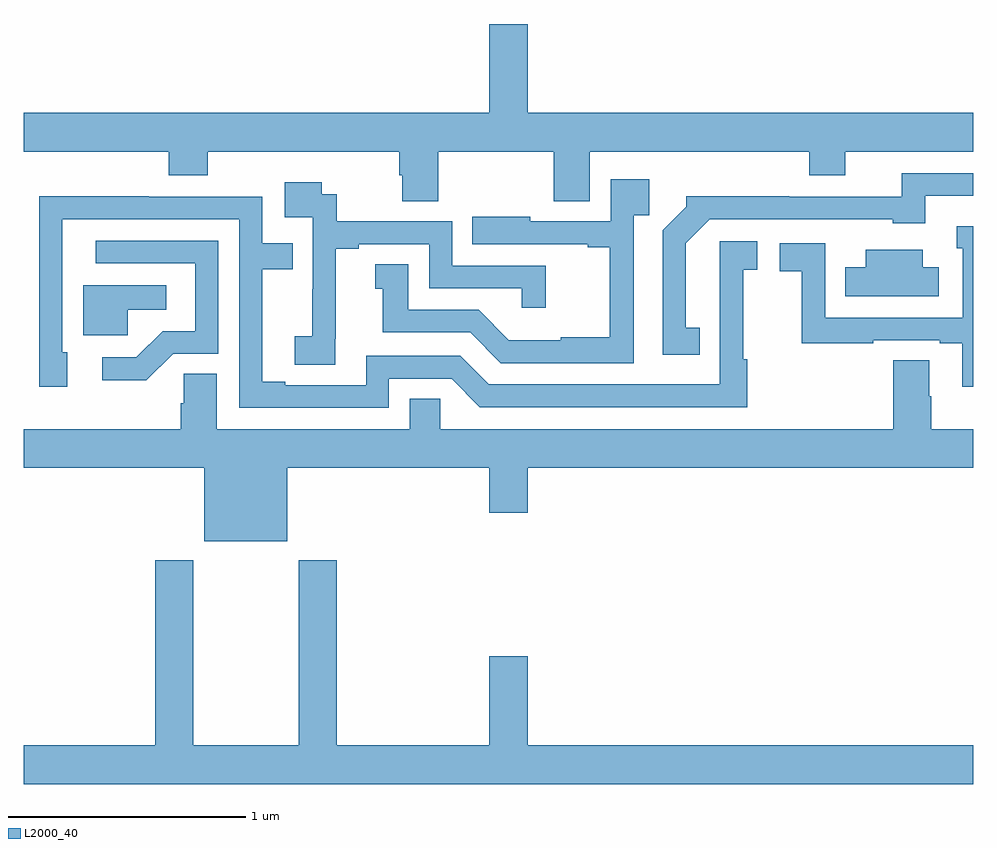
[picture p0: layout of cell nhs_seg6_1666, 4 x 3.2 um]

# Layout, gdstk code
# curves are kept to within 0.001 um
import gdstk
lib = gdstk.Library(unit=1e-6, precision=1e-09)
def P(c, l, *ps):  # polygons
    for p in ps: c.add(gdstk.Polygon(p, *l))
L2000_40 = (2000, 40)

nhs_seg6_1666 = lib.new_cell('nhs_seg6_1666')
P(nhs_seg6_1666, L2000_40, [(212.747,956.66),(213.233,956.66),(213.233,956.452),(213.385,956.452),(213.385,956.66),(214.31,956.66),(214.31,956.561),(214.462,956.561),(214.462,956.66),(215,956.66),(215,956.824),(213.124,956.824),(213.124,957.199),(212.96,957.199),(212.96,956.824),(211,956.824),(211,956.66),(211.61,956.66),(211.61,956.561),(211.775,956.561),(211.775,956.66),(212.582,956.66),(212.582,956.562),(212.594,956.562),(212.594,956.452),(212.747,956.452)],
  [(213.848,955.919),(213.79,955.919),(213.79,956.275),(213.891,956.376),(214.662,956.376),(214.662,956.36),(214.798,956.36),(214.798,956.475),(215,956.475),(215,956.571),(214.699,956.571),(214.699,956.472),(214.226,956.472),(214.226,956.474),(213.792,956.474),(213.792,956.429),(213.693,956.33),(213.693,955.806),(213.848,955.806)],
  [(213.57,956.393),(213.635,956.393),(213.635,956.545),(213.474,956.545),(213.474,956.367),(213.133,956.367),(213.133,956.386),(212.89,956.386),(212.89,956.271),(213.377,956.271),(213.377,956.259),(213.469,956.259),(213.469,955.879),(213.263,955.879),(213.263,955.867),(213.044,955.867),(212.916,955.995),(212.62,955.995),(212.62,956.186),(212.48,956.186),(212.48,956.083),(212.513,956.083),(212.513,955.899),(212.88,955.899),(213.009,955.77),(213.57,955.77)],
  [(212.312,955.873),(212.314,955.873),(212.314,956.251),(212.41,956.251),(212.41,956.271),(212.709,956.271),(212.709,956.085),(213.099,956.085),(213.099,956.004),(213.2,956.004),(213.2,956.181),(212.805,956.181),(212.805,956.367),(212.318,956.367),(212.318,956.481),(212.256,956.481),(212.256,956.533),(212.1,956.533),(212.1,956.385),(212.217,956.385),(212.217,956.081),(212.216,956.081),(212.216,955.884),(212.142,955.884),(212.142,955.762),(212.312,955.762)],
  [(212.538,955.704),(212.802,955.704),(212.922,955.584),(214.049,955.584),(214.049,955.787),(214.032,955.787),(214.032,956.163),(214.09,956.163),(214.09,956.284),(213.932,956.284),(213.933,955.68),(212.958,955.68),(212.838,955.8),(212.442,955.8),(212.442,955.677),(212.101,955.677),(212.101,955.692),(212.005,955.692),(212.005,956.166),(212.132,956.166),(212.132,956.274),(212.004,956.274),(212.004,956.472),(211.526,956.472),(211.526,956.474),(211.064,956.474),(211.065,955.671),(211.183,955.671),(211.183,955.815),(211.161,955.815),(211.161,956.376),(211.908,956.376),(211.908,955.581),(212.538,955.581)],
  [(215,956.347),(214.931,956.347),(214.931,956.253),(214.956,956.253),(214.956,955.962),(214.377,955.962),(214.377,956.274),(214.185,956.274),(214.185,956.158),(214.279,956.158),(214.279,955.854),(214.58,955.854),(214.58,955.866),(214.859,955.866),(214.859,955.854),(214.955,955.854),(214.955,955.671),(215,955.671)],
  [(211.629,955.809),(211.818,955.809),(211.818,956.286),(211.302,956.286),(211.302,956.19),(211.722,956.19),(211.722,955.905),(211.584,955.905),(211.473,955.794),(211.329,955.794),(211.329,955.697),(211.516,955.697)],
  [(214.855,956.173),(214.789,956.173),(214.789,956.248),(214.547,956.248),(214.547,956.173),(214.462,956.173),(214.462,956.051),(214.855,956.051)],
  [(211.437,955.994),(211.6,955.994),(211.6,956.098),(211.25,956.098),(211.25,955.887),(211.437,955.887)],
  [(211.76,955.019),(212.11,955.019),(212.11,955.328),(212.96,955.328),(212.96,955.14),(213.124,955.14),(213.124,955.328),(215,955.328),(215,955.492),(214.824,955.492),(214.824,955.631),(214.816,955.631),(214.816,955.781),(214.664,955.781),(214.664,955.492),(212.754,955.492),(212.754,955.619),(212.627,955.619),(212.627,955.492),(211.813,955.492),(211.813,955.724),(211.674,955.724),(211.674,955.601),(211.661,955.601),(211.661,955.492),(211,955.492),(211,955.328),(211.76,955.328)],
  [(215,954.16),(213.124,954.16),(213.124,954.535),(212.96,954.535),(212.96,954.16),(212.318,954.16),(212.318,954.94),(212.158,954.94),(212.158,954.16),(211.713,954.16),(211.713,954.94),(211.553,954.94),(211.553,954.16),(211,954.16),(211,953.996),(215,953.996)])

lib.write_gds('nhs_seg6_1666.gds')
